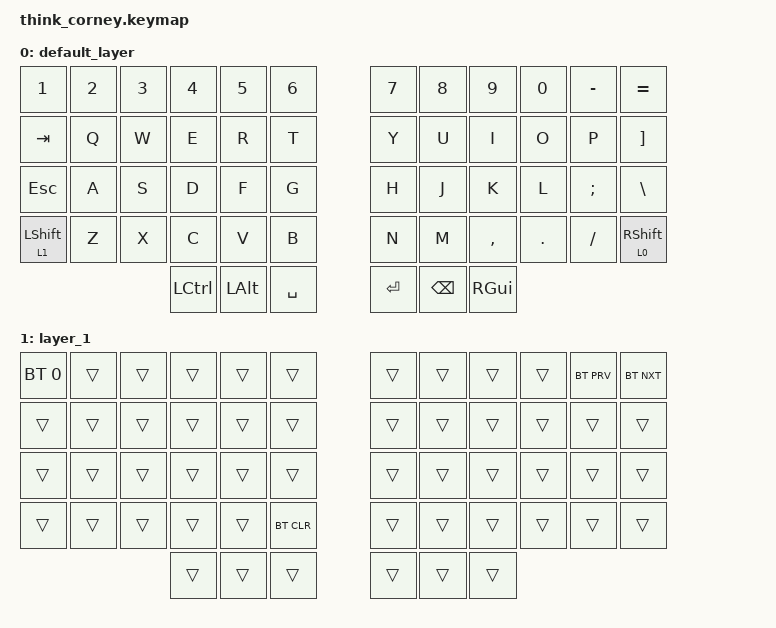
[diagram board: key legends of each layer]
#include <behaviors.dtsi>
#include <dt-bindings/zmk/bt.h>
#include <dt-bindings/zmk/keys.h>

/ {
    combos { compatible = "zmk,combos"; };

    keymap {
        compatible = "zmk,keymap";

        default_layer {
            bindings = <
&kp NUMBER_1      &kp NUMBER_2  &kp NUMBER_3  &kp NUMBER_4  &kp NUMBER_5  &kp NUMBER_6   &kp NUMBER_7  &kp NUMBER_8  &kp NUMBER_9  &kp NUMBER_0  &kp MINUS      &kp EQUAL
&kp TAB           &kp Q         &kp W         &kp E         &kp R         &kp T          &kp Y         &kp U         &kp I         &kp O         &kp P          &kp RIGHT_BRACKET
&kp ESC           &kp A         &kp S         &kp D         &kp F         &kp G          &kp H         &kp J         &kp K         &kp L         &kp SEMICOLON  &kp BACKSLASH
&lt 1 LEFT_SHIFT  &kp Z         &kp X         &kp C         &kp V         &kp B          &kp N         &kp M         &kp COMMA     &kp DOT       &kp SLASH      &lt 0 RIGHT_SHIFT
&kp LEFT_CONTROL  &kp LEFT_ALT  &kp SPACE     &kp ENTER     &kp BSPC      &kp RIGHT_GUI
            >;
        };

        layer_1 {
            bindings = <
&bt BT_SEL 0  &trans  &trans  &trans  &trans  &trans      &trans  &trans  &trans  &trans  &bt BT_PRV  &bt BT_NXT
&trans        &trans  &trans  &trans  &trans  &trans      &trans  &trans  &trans  &trans  &trans      &trans
&trans        &trans  &trans  &trans  &trans  &trans      &trans  &trans  &trans  &trans  &trans      &trans
&trans        &trans  &trans  &trans  &trans  &bt BT_CLR  &trans  &trans  &trans  &trans  &trans      &trans
&trans        &trans  &trans  &trans  &trans  &trans
            >;
        };
    };
};
